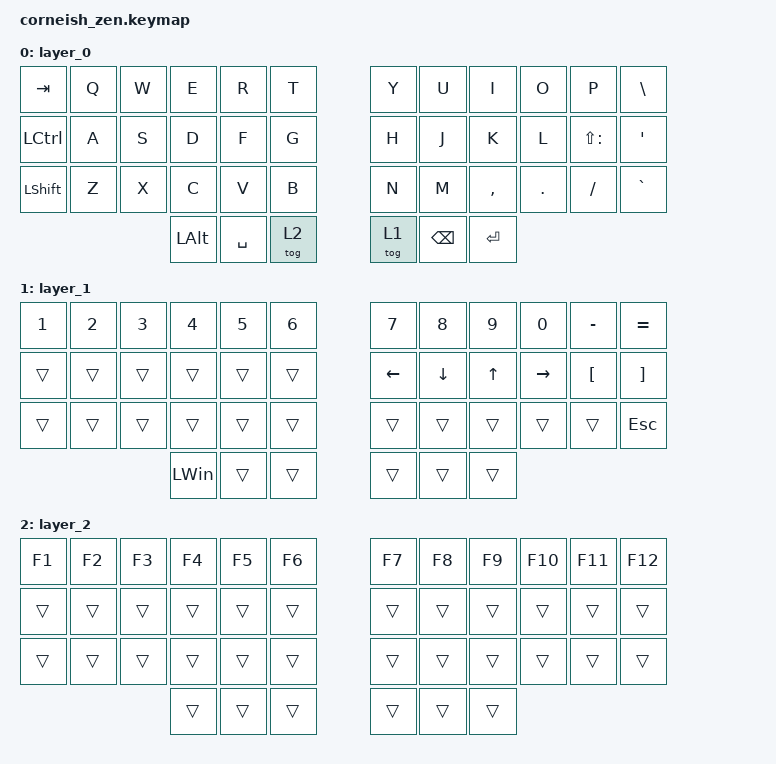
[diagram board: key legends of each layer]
#include <behaviors.dtsi>
#include <dt-bindings/zmk/keys.h>
#include "keypos_def/keypos_36keys.h"
#include "includes/3x5.dtsi"

/ {
    chosen { zmk,physical-layout = &foostan_corne_5col_layout; };

    keymap {
        compatible = "zmk,keymap";

        layer_0 {
            bindings = <
&kp TAB    &kp Q  &kp W  &kp E     &kp R      &kp T     &kp Y   &kp U     &kp I      &kp O    &kp P          &kp BSLH
&kp LCTRL  &kp A  &kp S  &kp D     &kp F      &kp G     &kp H   &kp J     &kp K      &kp L    &kp LS(COLON)  &kp SQT
&kp LSHFT  &kp Z  &kp X  &kp C     &kp V      &kp B     &kp N   &kp M     &kp COMMA  &kp DOT  &kp FSLH       &kp GRAVE
                         &kp LALT  &kp SPACE  &tog 2    &tog 1  &kp BSPC  &kp RET
            >;
        };

        layer_1 {
            bindings = <
&kp N1  &kp N2  &kp N3  &kp N4        &kp N5  &kp N6    &kp N7    &kp N8    &kp N9  &kp N0     &kp MINUS  &kp EQUAL
&trans  &trans  &trans  &trans        &trans  &trans    &kp LEFT  &kp DOWN  &kp UP  &kp RIGHT  &kp LBKT   &kp RBKT
&trans  &trans  &trans  &trans        &trans  &trans    &trans    &trans    &trans  &trans     &trans     &kp ESCAPE
                        &kp LEFT_WIN  &trans  &trans    &trans    &trans    &trans
            >;
        };

        layer_2 {
            bindings = <
&kp F1  &kp F2  &kp F3  &kp F4  &kp F5  &kp F6    &kp F7  &kp F8  &kp F9  &kp F10  &kp F11  &kp F12
&trans  &trans  &trans  &trans  &trans  &trans    &trans  &trans  &trans  &trans   &trans   &trans
&trans  &trans  &trans  &trans  &trans  &trans    &trans  &trans  &trans  &trans   &trans   &trans
                        &trans  &trans  &trans    &trans  &trans  &trans
            >;
        };
    };
};
